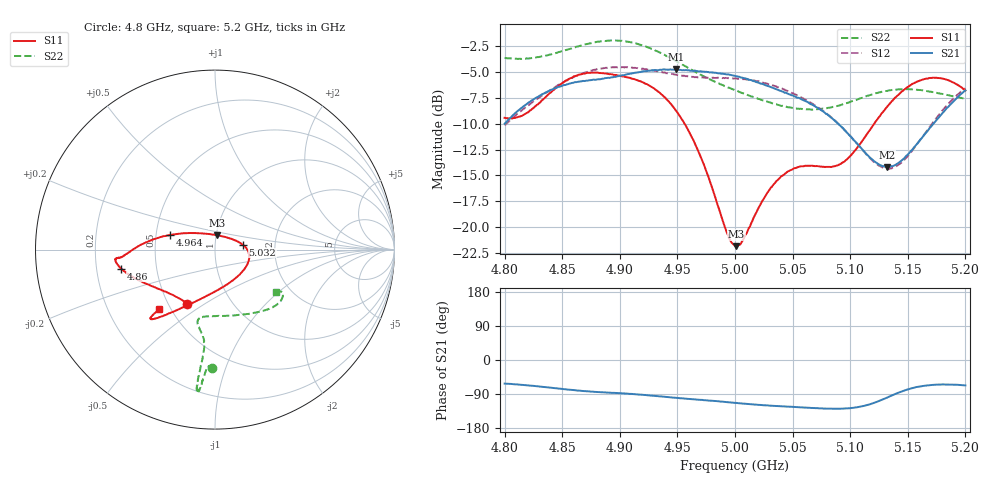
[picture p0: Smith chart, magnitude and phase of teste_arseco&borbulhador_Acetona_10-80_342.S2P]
! Network Analyzer HP8722D
! Hewlett-Packard
! Data name: Linha & Wilkinson
! Saver's name: Rodrigo Anjos
! Comments: Teste da utilização de aquisição
! continua pelo VNA HP8722D
! Time and date: 17/4/2025 17:12
!  Frequency  S11  S21  S12  S22
# HZ  S  MA R 50
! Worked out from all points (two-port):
!   401 points, 4.8 GHz to 5.2 GHz, reference 50 ohm
!   highest |S21| = -4.76 dB at 4.949 GHz (marker M1); lowest = -14.2 dB at 5.132 GHz (marker M2)
!   |S21| within 3 dB of the highest: 4.824 GHz to 5.06 GHz (236.3 MHz wide, 4.78 % of centre); 5.190557 GHz to end of sweep
!   lowest |S11| = -21.8 dB at 5.001 GHz (marker M3), VSWR 1.18, Z = 50.8 + j8.14 ohm
!   |S11| at or under -10 dB: 4.956 GHz to 5.121 GHz (164.8 MHz wide, 3.27 % of centre)
!   |S22| runs from -8.7 to -2.0 dB; largest |S21 - S12| = 0.87
!   S11 on the Smith chart (normalised r, x): 4.8 GHz: 0.62, -0.42; 4.86 GHz: 0.31, -0.09; 4.964 GHz: 0.59, +0.10; 5.032 GHz: 1.36, +0.08; 5.2 GHz: 0.43, -0.36
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4.8e9  0.3374 -117.1  0.3157 -62.3  0.3111 -176.7  0.6575 -91.4
4.819e9  0.3557 -137.4  0.3925 -66.5  0.3823 -176.3  0.6539 -93.0
4.86e9  0.535 -168.6  0.4992 -79.4  0.5313 -179.7  0.7351 -95.4
4.867e9  0.5495 -171.3  0.5068 -81.5  0.5503 179.0  0.7563 -95.7
4.9e9  0.5392 -175.1  0.5383 -87.7  0.5933 173.1  0.7957 -97.2
4.934e9  0.4492 179.3  0.5743 -95.9  0.5656 169.9  0.7007 -97.4
4.949e9  0.365 172.2  0.5784 -99.8  0.5456 170.4  0.6344 -96.9
4.964e9  0.2622 161.8  0.569 -103.7  0.5321 171.8  0.5686 -96.3
4.993e9  0.0938 112.2  0.5469 -111.1  0.5256 174.0  0.4756 -98.7
5e9  0.08099 84.4  0.5381 -113.2  0.5238 174.2  0.4583 -100.1
5.001e9  0.08084 80.1  0.5357 -113.2  0.5232 174.3  0.4571 -100.3
5.006e9  0.08518 60.2  0.5283 -114.6  0.5207 174.1  0.4453 -101.5
5.032e9  0.1566 10.1  0.4732 -120.6  0.4857 172.9  0.397 -103.2
5.047e9  0.1868 -4.1  0.4386 -123.1  0.4516 172.3  0.3791 -99.5
5.067e9  0.1981 -25.3  0.3906 -126.5  0.3952 172.0  0.3696 -88.2
5.096e9  0.2102 -75.6  0.2912 -127.9  0.2915 174.9  0.3959 -65.8
5.119e9  0.3054 -110.1  0.2122 -114.9  0.2104 -170.2  0.438 -50.6
5.132e9  0.3814 -120.5  0.1949 -99.3  0.1918 -152.6  0.4549 -44.2
5.134e9  0.3927 -121.7  0.1956 -96.4  0.1913 -149.5  0.4581 -43.3
5.147e9  0.4614 -127.5  0.2155 -80.6  0.2114 -131.0  0.464 -38.5
5.168e9  0.5243 -132.3  0.2957 -66.9  0.3001 -113.2  0.452 -33.4
5.2e9  0.4571 -133.2  0.4581 -67.1  0.4687 -109.1  0.4166 -35.0
